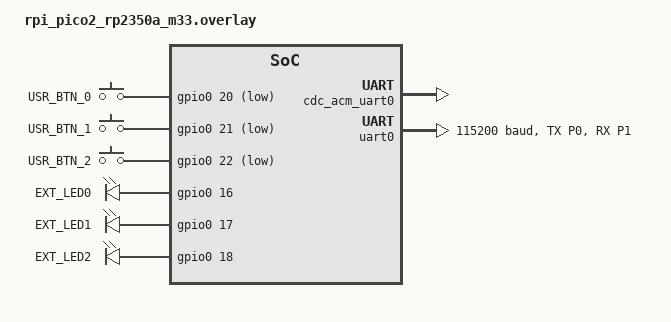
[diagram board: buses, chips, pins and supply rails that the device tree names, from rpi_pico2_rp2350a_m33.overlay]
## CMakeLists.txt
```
cmake_minimum_required(VERSION 3.20.0)
set(BOARD rpi_pico2/rp2350a/m33)
find_package(Zephyr REQUIRED HINTS $ENV{ZEPHYR_BASE})
project(lab2_part1)
set(CMAKE_EXPORT_COMPILE_COMMANDS ON)
set(OPENOCD "openocd")
set(OPENOCD_DEFAULT_PATH "/usr/local/share/openocd/scripts")
target_include_directories(app PRIVATE src/inc .)
FILE(GLOB SRC_FILES "src/*.c")
target_sources(app PRIVATE 
    ${SRC_FILES}
    drivers/sensor_node/sensor_node.c
    src/base_station.c
    ../coms/coms.c
)

target_include_directories(app PRIVATE
    ../include
    drivers/sensor_node
)
```

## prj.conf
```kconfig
CONFIG_GPIO=y
CONFIG_POLL=y
CONFIG_SERIAL=y
CONFIG_CONSOLE=y
CONFIG_UART_CONSOLE=y
CONFIG_STDOUT_CONSOLE=y
CONFIG_UART_LINE_CTRL=y


CONFIG_USB_DEVICE_STACK_NEXT=y
CONFIG_CDC_ACM_SERIAL_INITIALIZE_AT_BOOT=y
CONFIG_CDC_ACM_SERIAL_PID=0x0004
CONFIG_CDC_ACM_SERIAL_PRODUCT_STRING="USBD console sample"

CONFIG_UART_INTERRUPT_DRIVEN=y

CONFIG_SENSOR=y
CONFIG_SENSOR_NODE=y
```

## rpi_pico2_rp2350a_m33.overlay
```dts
/ {
    chosen {
            zephyr,console = &cdc_acm_uart0;
            zephyr,shell-uart = &cdc_acm_uart0;
    };
};

&zephyr_udc0 {
    cdc_acm_uart0: cdc_acm_uart0 {
            compatible = "zephyr,cdc-acm-uart";
    };
};

&uart0 {
    status = "okay";
    current-speed = <115200>;
    pinctrl-0 = <&uart0_default>;
    pinctrl-names = "default";
};

&pinctrl {
    uart0_default: uart0_default {
        group1 {
            pinmux = <UART0_TX_P0>;
        };
        group2 {
            pinmux = <UART0_RX_P1>;
            input-enable;
        };
    };
};

/ {
    keys {
        compatible = "gpio-keys";
        button0: button_0 {
            gpios = <&gpio0 20 (GPIO_PULL_UP | GPIO_ACTIVE_LOW)>;
            label = "USR_BTN_0";
        };
        button1: button_1 {
            gpios = <&gpio0 21 (GPIO_PULL_UP | GPIO_ACTIVE_LOW)>;
            label = "USR_BTN_1";
        };
        button2: button_2 {
            gpios = <&gpio0 22 (GPIO_PULL_UP | GPIO_ACTIVE_LOW)>;
            label = "USR_BTN_2";
        };
    };

    leds {
        compatible = "gpio-leds";
        led0: led_0 {
            gpios = <&gpio0 16 GPIO_ACTIVE_HIGH>;
            label = "EXT_LED0";
        };

        led1: led_1 {
            gpios = <&gpio0 17 GPIO_ACTIVE_HIGH>;
            label = "EXT_LED1";
        };

        led2: led_2 {
            gpios = <&gpio0 18 GPIO_ACTIVE_HIGH>;
            label = "EXT_LED2";
        };
    };

    aliases {
        button0 = &button0;
        button1 = &button1;
        button2 = &button2;
        led0 = &led0;
        led1 = &led1;
        led2 = &led2;
    };
};
```

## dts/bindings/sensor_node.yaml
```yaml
# dts/bindings/vendor,my-sensor.yaml
description: Custom UART-based sensor driver for Raspberry Pi Pico 2

# This matches the compatible string you will use in your overlay and C driver
compatible: "sensor_node"

# Tells Zephyr this device lives on a UART bus
include: [sensor-device.yaml, uart-device.yaml]

properties:
```

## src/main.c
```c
// #include <zephyr/kernel.h>
// #include <zephyr/drivers/gpio.h>

// #define DELAY_2_MS    100
// #define DELAY_3_MS    200
// #define DELAY_4_MS    300
// #define DELAY_5_MS    500

// #define STACK_SIZE  500 

// #define LED2_NODE   DT_ALIAS(led2) 
// #define LED3_NODE   DT_ALIAS(led3) 
// #define LED4_NODE   DT_ALIAS(led4) 
// #define LED5_NODE   DT_ALIAS(led5) 

// struct gpio_dt_spec led2 = GPIO_DT_SPEC_GET(LED2_NODE, gpios); 
// struct gpio_dt_spec led3 = GPIO_DT_SPEC_GET(LED3_NODE, gpios); 
// struct gpio_dt_spec led4 = GPIO_DT_SPEC_GET(LED4_NODE, gpios); 
// struct gpio_dt_spec led5 = GPIO_DT_SPEC_GET(LED5_NODE, gpios); 

// void task(struct gpio_dt_spec* led, int delay) 
// {
//     gpio_pin_configure_dt(led, GPIO_OUTPUT_ACTIVE); 

//     for(;;)
//     {
//         gpio_pin_toggle_dt(led); 
//         k_msleep(delay); 
//     }
// }

// K_THREAD_DEFINE(blink2, STACK_SIZE, task, &led2, DELAY_2_MS, NULL, 5, 0, 0);
// K_THREAD_DEFINE(blink3, STACK_SIZE, task, &led3, DELAY_3_MS, NULL, 6, 0, 0);
// K_THREAD_DEFINE(blink4, STACK_SIZE, task, &led4, DELAY_4_MS, NULL, 7, 0, 0);
// K_THREAD_DEFINE(blink5, STACK_SIZE, task, &led5, DELAY_5_MS, NULL, 8, 0, 0);
```

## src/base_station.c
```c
#include "../../include/base_station.h"
#include "../../include/coms.h"
#include <zephyr/kernel.h>
#include <zephyr/device.h>
#include <zephyr/drivers/sensor.h>
#include "drivers/sensor_node/sensor_node.h"
#include <stdint.h>

// Queues
// Create an event queue.
K_MSGQ_DEFINE(event_queue, sizeof(base_station_event_t), QUEUE_SIZE, __alignof__(base_station_event_t));

// Raw byte queue: ISR to uart_rx_task
K_MSGQ_DEFINE(uart_byte_queue, sizeof(uint8_t), 256, 1);

// Packet queue: uart_rx_task to packet_handler_task
K_MSGQ_DEFINE(packet_queue, sizeof(packet_t *), QUEUE_SIZE, __alignof__(packet_t *));
base_station_t bs;

// Create a semaphore for logging.
// K_SEM_DEFINE(logging_sem, 0, 1);

// Create macro aliases for each node.
#define BTN0_NODE DT_ALIAS(button0)
#define BTN1_NODE DT_ALIAS(button1)
#define BTN2_NODE DT_ALIAS(button2)

#define FORCE_LED_NODE DT_ALIAS(led0)
#define DIST_LED_NODE DT_ALIAS(led1)
#define ACCEL_LED_NODE DT_ALIAS(led2)

#define UART_NODE DT_NODELABEL(uart0)

// Create specs for each node.
static const struct gpio_dt_spec btn0_spec = GPIO_DT_SPEC_GET(BTN0_NODE, gpios);
static const struct gpio_dt_spec btn1_spec = GPIO_DT_SPEC_GET(BTN1_NODE, gpios);
static const struct gpio_dt_spec btn2_spec = GPIO_DT_SPEC_GET(BTN2_NODE, gpios);
static const struct gpio_dt_spec force_led_spec = GPIO_DT_SPEC_GET(FORCE_LED_NODE, gpios);
static const struct gpio_dt_spec dist_led_spec = GPIO_DT_SPEC_GET(DIST_LED_NODE, gpios);
static const struct gpio_dt_spec accel_led_spec = GPIO_DT_SPEC_GET(ACCEL_LED_NODE, gpios);

static const struct device *uart_dev = DEVICE_DT_GET(UART_NODE);

static struct k_work_delayable emergency_ack_work;

// Create callback struct for button ISRs.
static struct gpio_callback reset_btn_cb_data;
static struct gpio_callback logging_btn_cb_data;
static struct gpio_callback sens_btn_cb_data;

static struct k_poll_signal poll_signal;
static struct k_timer request_timer;

static struct k_poll_event events[1];

void init_btn(const struct gpio_dt_spec *spec, gpio_callback_handler_t callback, struct gpio_callback *callback_data)
{
    // Configures button pin as input.
    gpio_pin_configure_dt(spec, GPIO_INPUT);

    // Registers interrupt on edge to active level.
    gpio_pin_interrupt_configure_dt(spec, GPIO_INT_EDGE_TO_ACTIVE);

    // Initializes callback struct with ISR and the pins on which ISR should trigger.
    gpio_init_callback(callback_data, callback, BIT(spec->pin));

    // Adds ISR callback to the device.
    gpio_add_callback_dt(spec, callback_data);
}

void init_led(const struct gpio_dt_spec *spec)
{
    if (!gpio_is_ready_dt(spec))
    {
        return;
    }

    // Configures LED pin as output.
    int ret = gpio_pin_configure_dt(spec, GPIO_OUTPUT_INACTIVE);
    if (ret < 0)
    {
        return;
    }
}

// Enqueue newly received bytes in uart_byte_queue.
static void uart_isr(const struct device *dev, void *user_data)
{
    if (!uart_irq_update(dev))    { return; }
    if (!uart_irq_rx_ready(dev))  { return; }

    uint8_t byte;
    while (uart_fifo_read(dev, &byte, 1) == 1) {
        // Non-blocking put; drop byte on overflow (better than blocking in ISR)
        k_msgq_put(&uart_byte_queue, &byte, K_NO_WAIT);
    }
}

void emergency_ack_handler(struct k_work *work)
{
    printk("[BS] 10 seconds passed. Sending EMERGENCY_ACK.\n");
    send_response(EMERGENCY_ACK, NULL, 0);
}

// Sets up the initial state and performs necessary setup for the base station.
void init(base_station_t *bs)
{
    // Initialize the base station state
    bs->curr_state = BOOT;
    if (bs->logging)
    {
        printk("[DEBUG] Booting!\n");
    }

    if (!bs->hw_init)
    {
        // Initialize UART device.
        if (!device_is_ready(uart_dev))
        {
            printk("[ERROR] UART device is not ready!\n");
            // Add error event to the event queue.
            base_station_event_t evt = ERROR_OCCURRED;
            k_msgq_put(&event_queue, &evt, K_NO_WAIT);
            return;
        }

        // Initilaze the sensor node device.
        bs->sn_dev = device_get_binding(SN_ALIAS);
        if (!device_is_ready(bs->sn_dev))
        {
            printk("[ERROR] Sensor node device not ready\n");
            return;
        }

        // Initialize buttons and their ISRs.
        init_btn(&btn0_spec, reset_btn_isr, &reset_btn_cb_data);
        init_btn(&btn1_spec, logging_btn_isr, &logging_btn_cb_data);
        init_btn(&btn2_spec, sens_btn_isr, &sens_btn_cb_data);

        // Initialize ISR
        uart_irq_callback_set(uart_dev, uart_isr);
        uart_irq_rx_enable(uart_dev);

        // Initialize LEDs.
        init_led(&force_led_spec);
        init_led(&dist_led_spec);
        init_led(&accel_led_spec);

        // Default to medium sensitivity.
        bs->sensitivity = MEDIUM;
    }

    bs->hw_init = true;
    bs->emergency = false;

    // Issue config packet to sensor node to set sensitivity.
    send_config(bs);

    // Zero out the readings.
    bs->sensor_readings.dist = 0;
    bs->sensor_readings.force = 0;
    bs->sensor_readings.accel_x = 0;
    bs->sensor_readings.accel_y = 0;
    bs->sensor_readings.accel_z = 0;

    // Initialize the polling signal and event.
    k_poll_signal_init(&poll_signal);
    k_poll_event_init(&events[0], K_POLL_TYPE_SIGNAL, K_POLL_MODE_NOTIFY_ONLY, &poll_signal);

    // Initialize the timer for periodic data requests, delayable work item for the emergency ack.
    k_timer_init(&request_timer, timer_handler, NULL);
    k_work_init_delayable(&emergency_ack_work, emergency_ack_handler);

    // Add boot complete event to the event queue.
    base_station_event_t evt = BOOT_COMPLETE;
    k_msgq_put(&event_queue, &evt, K_NO_WAIT);
}

void reset_btn_isr(const struct device *dev, struct gpio_callback *cb, uint32_t pins)
{
    // Add reset pressed event to the event queue.
    base_station_event_t evt = RESET_PRESSED;
    k_msgq_put(&event_queue, &evt, K_NO_WAIT);
}

void logging_btn_isr(const struct device *dev, struct gpio_callback *cb, uint32_t pins)
{
    // Toggle the logging state.
    base_station_event_t evt = LOGGING_PRESSED;
    k_msgq_put(&event_queue, &evt, K_NO_WAIT);
}

void sens_btn_isr(const struct device *dev, struct gpio_callback *cb, uint32_t pins)
{
    // Cycle through sensitivity levels on each press.
    base_station_event_t evt = SENS_PRESSED;
    k_msgq_put(&event_queue, &evt, K_NO_WAIT);
}

void timer_handler(struct k_timer *t)
{
    k_poll_signal_raise(&poll_signal, TIMER_SIGNAL);
}

static inline void toggle_timer(bool state_change, bool start)
{
    if (!state_change)
    {
        return;
    }
    if (start)
    {
        k_timer_start(&request_timer, K_SECONDS(WORK_INTERVAL_S), K_SECONDS(WORK_INTERVAL_S));
    }
    else
    {
        k_timer_stop(&request_timer);
    }
}

void error_handler(base_station_t *bs, bool state_change)
{
    // Stop the periodic timer during error.
    toggle_timer(state_change, false);
}

void boot_handler(base_station_t *bs, bool state_change)
{
    toggle_timer(state_change, false);

    // Re-boot the system.
    init(bs);
}

void alert_handler(base_station_t *bs, bool state_change)
{
    toggle_timer(state_change, false);
    // TODO: Turn on LEDs based on which anomalies are detected.
}

void send_config(base_station_t *bs)
{
    uint8_t config_data[1] = { bs->sensitivity };
    packet_t *packet = build_packet(CONFIG, config_data, sizeof(config_data));
    if (packet)
    {
        if (bs->logging)
        {
            printk("[BS::DEBUG] Sending config packet with sensitivity: %s\n", sensitivity_to_str(bs->sensitivity));
        }

        send_packet(uart_dev, packet);
        destroy_packet(packet);
    }
    else
    {
        if (bs->logging)
        {
            printk("[BS::ERROR] Failed to build config packet!\n");
        }
    }
}

void request_data()
{
    packet_t *packet = build_packet(REQUEST, NULL, 0);
    if (packet)
    {
        if (bs.logging)
        {
            print_packet("BASE STATION - request_data", packet);
        }
        send_packet(uart_dev, packet);
        destroy_packet(packet);
    }
    else
    {
        if (bs.logging)
        {
            printk("[BS::ERROR] Packet build failed!\n");
        }
    }
}

void normal_handler(base_station_t *bs, bool state_change)
{
    toggle_timer(state_change, true);
    turn_off_leds();

    if (sensor_sample_fetch(bs->sn_dev) != 0 && bs->curr_state != NORMAL)
    {
        printk("[ERROR] BS fetch failed: not in normal state\n");
        return;
    }

    struct sensor_value dist, force, accel_x, accel_y, accel_z;
    sensor_channel_get(bs->sn_dev, SENSOR_CHAN_DISTANCE, &dist);
    sensor_channel_get(bs->sn_dev, SENSOR_CHAN_FORCE_N, &force);
    sensor_channel_get(bs->sn_dev, SENSOR_CHAN_ACCEL_X, &accel_x);
    sensor_channel_get(bs->sn_dev, SENSOR_CHAN_ACCEL_Y, &accel_y);
    sensor_channel_get(bs->sn_dev, SENSOR_CHAN_ACCEL_Z, &accel_z);

    update_sensor_values(&bs->sensor_readings, &dist, &force, &accel_x, &accel_y, &accel_z);

    if(bs->logging)
    {   
        sensor_reading_t *reading = &bs->sensor_readings;
        printk("[BS::DEBUG] dist=%d force=%d accel=(%d, %d, %d)\n",
            reading->dist, reading->force, reading->accel_x, reading->accel_y, reading->accel_z);
    }
}

void update_sensor_values(sensor_reading_t *readings, struct sensor_value *dist, struct sensor_value *force, struct sensor_value *accel_x, struct sensor_value *accel_y, struct sensor_value *accel_z)
{
    readings->dist = (int32_t)dist->val1;
    readings->force = (int32_t)force->val1;
    readings->accel_x = (int32_t)accel_x->val1;
    readings->accel_y = (int32_t)accel_y->val1;
    readings->accel_z = (int32_t)accel_z->val1;
}

void turn_off_leds()
{
    gpio_pin_set_dt(&force_led_spec, 0);
    gpio_pin_set_dt(&dist_led_spec, 0);
    gpio_pin_set_dt(&accel_led_spec, 0);
}

void turn_on_leds(bool force, bool dist, bool accel)
{
    gpio_pin_set_dt(&force_led_spec, force);
    gpio_pin_set_dt(&dist_led_spec, dist);
    gpio_pin_set_dt(&accel_led_spec, accel);
}

void worker_task()
{
    bs.logging = true;
    bs.hw_init = false;
    init(&bs);

    int signaled, result;
    bool state_change = false;

    while (true)
    {
        // Wait for a signal to perform work.
        k_poll(events, 1, K_FOREVER);

        if (events[0].state == K_POLL_STATE_SIGNALED)
        {

            // Check result & reset for the next signal.
            k_poll_signal_check(&poll_signal, &signaled, &result);
            k_poll_signal_reset(&poll_signal);

            state_change = (result == STATE_SIGNAL);

            switch (bs.curr_state)
            {
                case ALERT:
                    alert_handler(&bs, state_change);
                    break;

                case BOOT:
                    boot_handler(&bs, state_change);
                    break;

                case ERROR:
                    error_handler(&bs, state_change);
                    break;

                // Default to normal case.
                default:
                    normal_handler(&bs, state_change);
                    break;
            }
        }
    }
}

base_station_event_t get_next_state(base_station_state_t curr_state, base_station_event_t ev)
{
    switch (curr_state)
    {
    case NORMAL:
        if (ev == ANOMALY_DETECTED)
        {
            return ALERT;
        }
        else if (ev == RESET_PRESSED)
        {
            return BOOT;
        }
        else if (ev == ERROR_OCCURRED)
        {
            return ERROR;
        }
        break;

    case BOOT:
        if (ev == BOOT_COMPLETE)
        {
            return NORMAL;
        }
        break;

    case ALERT:
        if (ev == RESET_PRESSED)
        {
            return BOOT;
        }
        else if (ev == ANOMALY_CLEARED)
        {
            return NORMAL;
        }
        else if (ev == ERROR_OCCURRED)
        {
            return ERROR;
        }
        break;

    case ERROR:
        if (ev == RESET_PRESSED)
        {
            return BOOT;
        }
        break;
    }
    // If no transition occurs, return the current state.
    return curr_state;
}


const char *packet_type_to_str(uint8_t type)
{
    switch (type)
    {
        case REQUEST: return "REQUEST";
        case RESPONSE: return "RESPONSE";
        case EMERGENCY: return "EMERGENCY";
        case EMERGENCY_ACK: return "EMERGENCY_ACK";
        case READY: return "READY";
        default: return "UNKNOWN";
    }
}

const char *sensitivity_to_str(uint8_t sensitivity)
{
    switch (sensitivity)
    {
        case LOW: return "LOW";
        case MEDIUM: return "MEDIUM";
        case HIGH: return "HIGH";
        default: return "UNKNOWN";
    }
}


void process_packet(packet_t *packet)
{
    if (bs.emergency && packet->type != READY)
    {
        printk("Already IN EMERGENCY PLEASE WAIT... TYPE: %s\n", packet_type_to_str(packet->type));
        return;
    }

    switch (packet->type)
    {
        case RESPONSE:
        {
            if (packet->data != NULL && packet->data_len == sizeof(int32_t) * 5)
            {
                int32_t *readings = (int32_t *)packet->data;
                sensor_node_store_response(
                    readings[4], /* dist mm    */
                    readings[3], /* force mN   */
                    readings[0], /* accel X mg */
                    readings[1], /* accel Y mg */
                    readings[2]  /* accel Z mg */
                );
            }
            else
            {
                printk("[BS] RESPONSE payload missing or wrong size\n");
            }

            break;
        }
        case EMERGENCY:
        {
            print_packet("BASE STATION EMERGENCY", packet);

            bs.emergency = true;
            base_station_event_t evt = ANOMALY_DETECTED;
            k_msgq_put(&event_queue, &evt, K_NO_WAIT);

            k_work_schedule(&emergency_ack_work, K_SECONDS(10)); 
            break;
        }

        case READY:
        {
            bs.emergency = false;
            base_station_event_t evt = ANOMALY_CLEARED;
            k_msgq_put(&event_queue, &evt, K_NO_WAIT);
            break;
        }

        default:
            print_packet("BASE STATION DEFAULT", packet);
            break;
        }
}

//uart_rx_task: frames bytes - complete packetS
void uart_rx_task(void)
{
    static uint8_t packet_type  = 0;
    static uint8_t payload_len  = 0;
    static uint8_t payload_idx  = 0;
    static uint8_t payload[64];
    static int     state        = 0;

    uint8_t byte;

    while (true) {
        // Block until a byte arrives from the ISR
        k_msgq_get(&uart_byte_queue, &byte, K_FOREVER);

        switch (state) {
        case 0: // WAIT_SYNC
            if (byte == SYNC_BYTE) {
                payload_idx = 0;
                state = 1;
            }
            break;

        case 1: // WAIT_TYPE
            packet_type = byte;
            state = 2;
            break;

        case 2: // WAIT_LENGTH
            payload_len = byte;

            if (payload_len == 0)
            {
                // Zero-payload packet — hand it off immediately
                packet_t *pkt = build_packet(packet_type, NULL, 0);
                if (pkt)
                {
                    if (k_msgq_put(&packet_queue, &pkt, K_NO_WAIT) != 0)
                    {
                        printk("[RX][ERROR] Packet queue full — dropping packet\n");
                        destroy_packet(pkt);
                    }
                }
                state = 0;
            }
            else if (payload_len > sizeof(payload))
            {
                printk("[RX][ERROR] Payload too large (%u) - dropping\n", payload_len);
                state = 0;
            }
            else
            {
                payload_idx = 0;
                state = 3;
            }
            break;

        case 3: // WAIT_PAYLOAD
            payload[payload_idx++] = byte;
            if (payload_idx >= payload_len)
            {
                packet_t *pkt = build_packet(packet_type, payload, payload_len);
                if (pkt)
                {
                    if (k_msgq_put(&packet_queue, &pkt, K_NO_WAIT) != 0)
                    {
                        printk("[RX][ERROR] Packet queue full - dropping packet\n");
                        destroy_packet(pkt);
                    }
                }
                state = 0;
            }
            break;

        default:
            state = 0;
            break;
        }
    }
}

/**
 * @brief Dequeues complete packets and processes them.
 */
void packet_handler_task(void)
{
    packet_t *pkt;

    while (true)
    {
        if (k_msgq_get(&packet_queue, &pkt, K_FOREVER) == 0) 
        {
            process_packet(pkt);
            destroy_packet(pkt);
        }
    }
}
// Periodically checks the event queue and updates the base station state accordingly.
void fsm_task()
{
    base_station_event_t ev;

    while (true)
    {
        // Check for events in the event queue and handle them.
        if (k_msgq_get(&event_queue, &ev, K_FOREVER) == 0)
        {

            log_event(&bs, ev);

            if (ev == LOGGING_PRESSED)
            {
                // Toggle logging state without changing the current state.
                bs.logging = !bs.logging;
                log_state(&bs);
                continue;
            }

            if (ev == SENS_PRESSED)
            {
                // Cycle through sensitivity levels and send config packet, without changing the current state.
                bs.sensitivity = (bs.sensitivity + 1) % SENSITIVITY_LEVELS;
                send_config(&bs);
                continue;
            }

            // Advance state based on the event.
            bs.curr_state = get_next_state(bs.curr_state, ev);
            k_poll_signal_raise(&poll_signal, STATE_SIGNAL);
            log_state(&bs);
        }
    }
}

static const char *event_str(base_station_event_t ev)
{
    switch (ev)
    {
    case RESET_PRESSED:
        return "Reset Pressed";
    case LOGGING_PRESSED:
        return "Logging Pressed";
    case SENS_PRESSED:
        return "Sensitivity Pressed";
    case BOOT_COMPLETE:
        return "Boot Complete";
    case ANOMALY_DETECTED:
        return "Anomaly Detected";
    case ANOMALY_CLEARED:
        return "Anomaly Cleared";
    case ERROR_OCCURRED:
        return "Error Occurred";
    default:
        return "Unknown Event";
    }
}

void log_event(base_station_t *bs, base_station_event_t ev)
{
    const char *msg = event_str(ev);

    // Always log logging events.
    if (ev == LOGGING_PRESSED)
    {
        printk("[DEBUG] Event: %s\n", msg);
        return;
    }

    // Skip printing if logging is disabled.
    if (!bs->logging)
    {
        return;
    }

    printk("[DEBUG] Event: %s\n", msg);
}

static const char *state_str(base_station_state_t state)
{
    switch (state)
    {
    case NORMAL:
        return "NORMAL";
    case ALERT:
        return "ALERT";
    case BOOT:
        return "BOOT";
    case ERROR:
        return "ERROR";
    default:
        return "UNKNOWN";
    }
}

void log_state(base_station_t *bs)
{
    const char *msg = state_str(bs->curr_state);

    // Skip printing if logging is disabled.
    if (!bs->logging)
    {
        return;
    }

    printk("[DEBUG] State: %s\n", msg);
}

K_THREAD_DEFINE(fsm_tid, STACK_SIZE, fsm_task, NULL, NULL, NULL, UPDATE_PRIO, 0, 0);
K_THREAD_DEFINE(worker_tid, STACK_SIZE, worker_task, NULL, NULL, NULL, WORKER_PRIO, 0, 0);
K_THREAD_DEFINE(rx_tid, STACK_SIZE, uart_rx_task, NULL, NULL, NULL, READ_PRIO, 0, 0);
K_THREAD_DEFINE(handler_tid, STACK_SIZE, packet_handler_task, NULL, NULL, NULL, HANDLER_PRIO,  0, 0);
```

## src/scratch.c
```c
// #include "base_station.h"

// #include <zephyr/kernel.h>
// #include <zephyr/sys/printk.h>
// #include <zephyr/drivers/gpio.h>

// #include <stdio.h>
// #include <stdint.h>
// #include <stdlib.h>

// #define NOTICE_DELAY_MS 2000
// #define MS_TO_S 1000
// #define TIME_TARGET 3

// #define STACK_SIZE 500
// #define MAIN_PRIO -1

// // Get macro aliases for each node.
// #define BTN0_NODE DT_ALIAS(button0)

// // Create specs for each node.
// static const struct gpio_dt_spec btn0_spec = GPIO_DT_SPEC_GET(BTN0_NODE, gpios);

// static struct gpio_callback btn_cb_data;

// static uint8_t timing_active = 0;

// /* Creates semaphore with count set to 0 and limit to 1 */
// K_SEM_DEFINE(btn_sem, 0, 1);
// K_MUTEX_DEFINE(active_mutex); 


// // void init(base_station_t* bs)
// // {
// //     // Initialize the base station state
// //     bs->curr_state = BOOT;
// //     bs->anomaly_detected = false;
// //     bs->logging = false;
// //     bs->boot_complete = false;

// //     // Initialize sensors and perform handshake
// //     init_sensors();
// //     sensor_handshake();

// //     // Mark boot as complete
// //     bs->boot_complete = true;
// // }


// void btn_isr(void *arg)
// {
// 	k_sem_give(&btn_sem);
// }

// /* ISR Initialization function */
// void init() {
//     /* Configures LED and button */
//     gpio_pin_configure_dt(&btn0_spec, GPIO_INPUT);

//     /* Registers interrupt on edge to active level */
//     gpio_pin_interrupt_configure_dt(&btn0_spec, GPIO_INT_EDGE_TO_ACTIVE);

//     /* Initializes callback struct with ISR and the pins on which ISR should trigger  */
//     gpio_init_callback(&btn_cb_data, btn_isr, BIT(btn0_spec.pin));

//     /* Adds ISR callback to the device */
//     gpio_add_callback_dt(&btn0_spec, &btn_cb_data);
// }

// /* Toggles LED on button press*/
// void btn_task()
// {
//     init();
// 	int64_t start, end;
//     for (;;) {
//         /* Wait until semaphore is given by ISR (meaning button is pressed), 
//         take semaphore and toggle LED*/
//         k_sem_take(&btn_sem, K_FOREVER);

// 		k_mutex_lock(&active_mutex, K_FOREVER);
// 		if (!timing_active)
// 		{
// 			timing_active = 1;
// 			start = k_uptime_get();
// 			printk("Button pressed, let's begin!\n");
// 		} else {
// 			timing_active = 0;
// 			end = k_uptime_get();
// 			int64_t dt_ms = end - start;
// 			int64_t dt_s  = dt_ms / MS_TO_S;
// 			int64_t dist_s = llabs(TIME_TARGET - dt_s);
// 			printk("Press time: %llds. %llds away from 3s target!\n", dt_s, dist_s);
// 		}
// 		k_mutex_unlock(&active_mutex);
//     }
// }

// K_THREAD_DEFINE(main_tid, STACK_SIZE, btn_task, NULL, NULL, NULL, BTN_PRIO, 0, 0);
```
